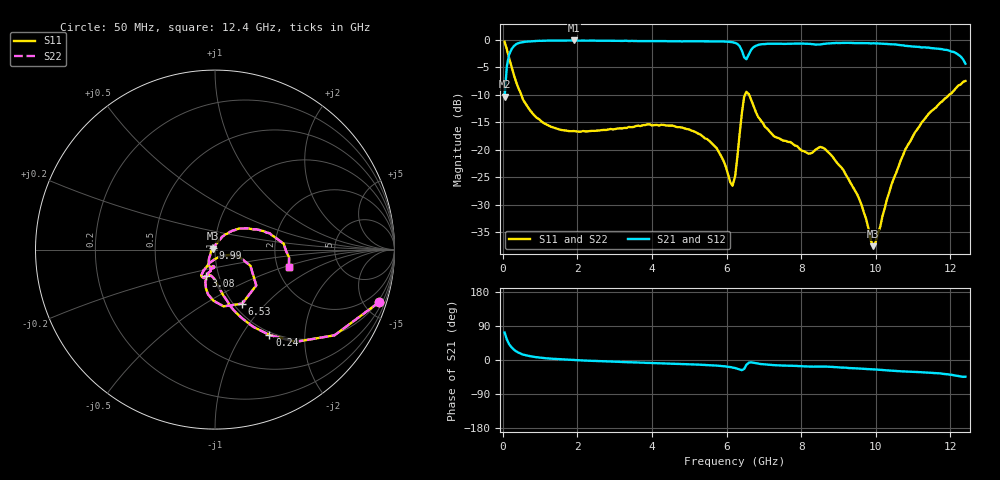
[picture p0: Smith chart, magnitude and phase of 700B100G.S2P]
!  American Technical Ceramics  Date:  3/13/98
!  One Norden Lane
!  Huntington Station,  NY.  11746-2102
!  Tel:  (516) 547-5700  Fax:  (516) 547-5748
!  Part Number  700B100G
!  Description: Porcelain, High Q, Low ESR
!  Application: Bypass, Coupling, Timing, Feedback
!  Tuning, Impedance Match, Blocking
# GHZ S DB R 50
! Freq  |S11|  S11 Ph  |S21|  S21 Ph  |S12|  S12 Ph  |S22|  S22 Ph
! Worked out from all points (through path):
!   201 points, 50 MHz to 12.4 GHz, reference 50 ohm
!   highest |S21| = -0.11 dB at 1.9 GHz (marker M1); lowest = -10.4 dB at 50 MHz (marker M2)
!   group delay of S21, straight-line fit = 11.2 ps
!   lowest |S11| = -37.5 dB at 9.93 GHz (marker M3), VSWR 1.03, Z = 48.8 + j0.561 ohm
!   |S11| at or under -10 dB: 496.8 MHz to 6.492 GHz (5.996 GHz wide, 172 % of centre); 6.606 GHz to 11.96 GHz (5.359 GHz wide, 57.7 % of centre)
!   |S22| runs from -37.5 to -0.3 dB; largest |S21 - S12| = 0
!   S11 on the Smith chart (normalised r, x): 50 MHz: 0.82, -6.34; 240 MHz: 0.96, -1.34; 3.08 GHz: 0.87, -0.26; 6.53 GHz: 1.09, -0.74; 9.99 GHz: 0.98, +0.02; 12.4 GHz: 2.31, -0.54
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0.05  -0.34 -17.6  -10.36 72.5  -10.36 72.5  -0.34 -17.6
0.11  -1.73 -35.6  -4.80 54.2  -4.80 54.2  -1.73 -35.6
0.24  -4.97 -57.5  -1.65 33.2  -1.65 33.2  -4.97 -57.5
0.85  -13.77 -85.0  -0.22 8.1  -0.22 8.1  -13.77 -85.0
1.9  -16.58 -99.0  -0.11 -0.2  -0.11 -0.2  -16.58 -99.0
2.15  -16.58 -101.4  -0.14 -1.2  -0.14 -1.2  -16.58 -101.4
3.08  -16.12 -108.7  -0.15 -4.8  -0.15 -4.8  -16.12 -108.7
4.19  -15.58 -115.2  -0.25 -8.5  -0.25 -8.5  -15.58 -115.2
5.3  -17.23 -118.3  -0.26 -12.6  -0.26 -12.6  -17.23 -118.3
5.73  -19.67 -116.0  -0.29 -14.8  -0.29 -14.8  -19.67 -116.0
6.16  -26.54 -62.8  -0.44 -19.9  -0.44 -19.9  -26.54 -62.8
6.23  -24.74 -35.8  -0.56 -21.3  -0.56 -21.3  -24.74 -35.8
6.41  -13.29 -24.4  -1.96 -26.8  -1.96 -26.8  -13.29 -24.4
6.53  -9.45 -63.2  -3.52 -12.8  -3.52 -12.8  -9.45 -63.2
6.9  -14.51 -106.6  -0.83 -10.4  -0.83 -10.4  -14.51 -106.6
8.32  -20.40 -92.5  -0.81 -17.6  -0.81 -17.6  -20.40 -92.5
9.13  -23.67 -120.7  -0.57 -20.1  -0.57 -20.1  -23.67 -120.7
9.93  -37.52 154.4  -0.62 -24.7  -0.62 -24.7  -37.52 154.4
9.99  -36.87 136.3  -0.65 -25.0  -0.65 -25.0  -36.87 136.3
10.36  -27.70 71.2  -0.79 -27.8  -0.79 -27.8  -27.70 71.2
11.23  -15.01 41.2  -1.39 -32.3  -1.39 -32.3  -15.01 41.2
12.4  -7.47 -13.2  -4.33 -44.1  -4.33 -44.1  -7.47 -13.2
